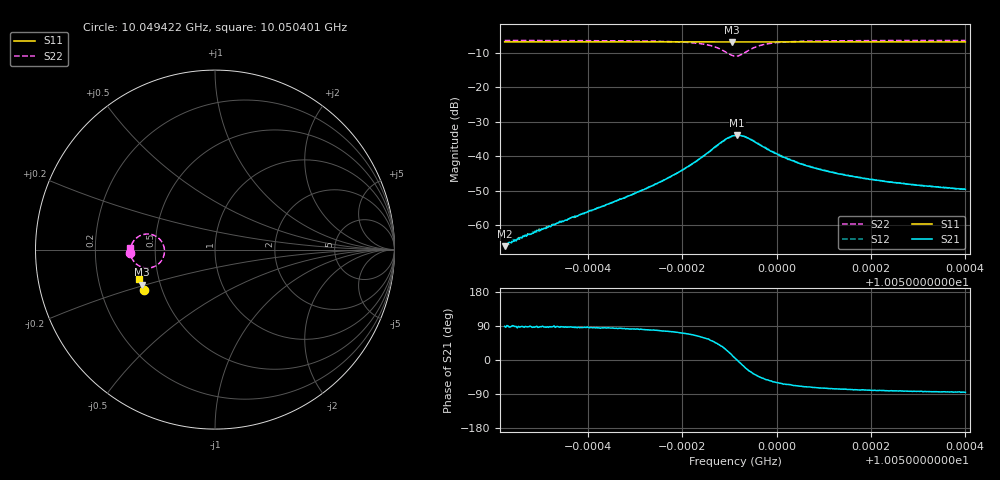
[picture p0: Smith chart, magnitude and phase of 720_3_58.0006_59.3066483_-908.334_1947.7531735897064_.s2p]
#  HZ  S  RI  R  50.00
! Rohde & Schwarz Vector Network Analyzer
! Rohde-Schwarz,ZNB20-2Port,1311601062101988,3.16
! Created: UTC 3/21/2024, 1:22:39 AM
! freq[Hz]  re:S11  im:S11  re:S21  im:S21  re:S12  im:S12  re:S22  im:S22
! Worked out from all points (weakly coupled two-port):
!   401 points, 10.049422 GHz to 10.050401 GHz, reference 50 ohm
!   highest |S21| = -33.95 dB at 10.049917 GHz (marker M1); lowest = -66.1 dB at 10.049422 GHz (marker M2)
!   lowest |S11| = -6.9 dB at 10.049904 GHz (marker M3), VSWR 2.64, Z = 19.7 - j9.64 ohm
!   |S11| at or under -10 dB: nowhere
!   |S22| runs from -11.0 to -6.5 dB; largest |S21 - S12| = 0.0019
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1.0049422e10  -0.3948 -0.224  9.56e-06 0.000495  -3.42e-05 0.000501  -0.4739 -0.0178
1.00494343e10  -0.3952 -0.2233  2.74e-05 0.000557  -2.57e-05 0.000555  -0.474 -0.0166
1.00494661e10  -0.3963 -0.2215  1.61e-05 0.000709  -1.57e-05 0.000723  -0.4738 -0.0132
1.00495861e10  -0.4001 -0.2142  0.000107 0.00144  1.81e-05 0.00146  -0.472 0.00172
1.00496742e10  -0.4025 -0.2088  0.000307 0.00243  0.000138 0.00243  -0.4688 0.0166
1.00497501e10  -0.4046 -0.2043  0.000877 0.00407  0.000614 0.00407  -0.4605 0.0362
1.00497966e10  -0.4058 -0.2011  0.00193 0.0058  0.00156 0.0059  -0.448 0.0544
1.0049848e10  -0.407 -0.1976  0.00554 0.00887  0.00497 0.00907  -0.4088 0.0813
1.00498799e10  -0.4071 -0.1956  0.0121 0.00961  0.0111 0.0102  -0.3477 0.0826
1.00498946e10  -0.4069 -0.1949  0.0163 0.00769  0.0154 0.00878  -0.3096 0.0595
1.00499044e10  -0.4068 -0.1944  0.0188 0.00478  0.0182 0.00617  -0.2893 0.0299
1.00499117e10  -0.407 -0.1945  0.0198 0.00185  0.0196 0.00356  -0.2819 0.00164
1.00499166e10  -0.407 -0.1943  0.0201 -0.000276  0.0199 0.00148  -0.2822 -0.0182
1.00499288e10  -0.4073 -0.194  0.0188 -0.00511  0.0191 -0.00362  -0.2993 -0.0631
1.00499435e10  -0.4081 -0.1938  0.0152 -0.00885  0.0162 -0.00763  -0.3374 -0.0943
1.00499607e10  -0.4089 -0.1929  0.011 -0.0102  0.012 -0.00959  -0.38 -0.1027
1.00499778e10  -0.4098 -0.1919  0.00799 -0.0102  0.00896 -0.00966  -0.4101 -0.0967
1.00500194e10  -0.4112 -0.1892  0.0041 -0.00848  0.00462 -0.00825  -0.4467 -0.0721
1.00500758e10  -0.413 -0.1858  0.0021 -0.00653  0.00255 -0.00647  -0.4636 -0.0472
1.00501541e10  -0.415 -0.1809  0.00111 -0.00506  0.00144 -0.00504  -0.471 -0.026
1.00502398e10  -0.4171 -0.1757  0.000619 -0.00414  0.000897 -0.00415  -0.4738 -0.0111
1.00504014e10  -0.4208 -0.1656  0.000281 -0.00329  0.000472 -0.00329  -0.4751 0.00853
